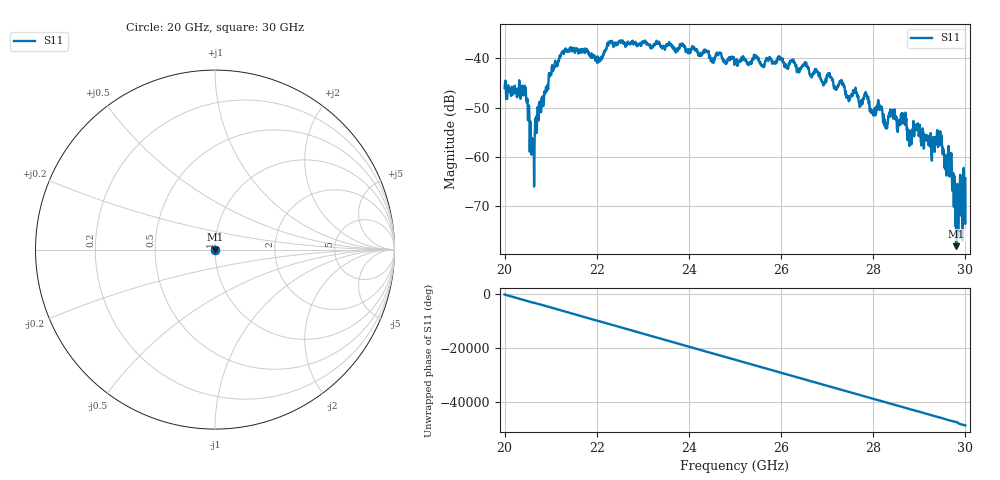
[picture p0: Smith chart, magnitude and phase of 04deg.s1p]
#  HZ  S  RI  R  50.00
! Rohde & Schwarz ZVA40 4Ports - Version 3.90 - 1145.1110k42 SN: 100403
! Date: 2023-10-03 12:40:28
! Measurement: S12
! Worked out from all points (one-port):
!   5001 points, 20 GHz to 30 GHz, reference 50 ohm
!   lowest |S11| = -78.1 dB at 29.8 GHz (marker M1), VSWR 1.00, Z = 50 - j0.00671 ohm
!   |S11| at or under -10 dB: start of sweep to end of sweep
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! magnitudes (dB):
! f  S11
! 20 GHz  -46.0
! 20.42 GHz  -45.8
! 20.61 GHz  -56.4
! 20.76 GHz  -49.0
! 21.25 GHz  -38.8
! 22.05 GHz  -40.2
! 22.28 GHz  -36.7
! 22.5 GHz  -36.6
! 23.75 GHz  -38.4
! 25 GHz  -40.9
! 26.25 GHz  -40.3
! 26.91 GHz  -45.3
! 27.32 GHz  -44.5
! 27.5 GHz  -47.9
! 27.97 GHz  -50.7
! 28.14 GHz  -50.4
! 28.26 GHz  -53.6
! 28.38 GHz  -51.3
! 28.67 GHz  -52.4
! 28.75 GHz  -56.1
! 28.97 GHz  -53.7
! 29.3 GHz  -56.2
! 29.43 GHz  -57.4
! 29.55 GHz  -62.3
! 29.66 GHz  -63.2
! 29.8 GHz  -78.1
! 29.89 GHz  -64.1
! 30 GHz  -64.3
